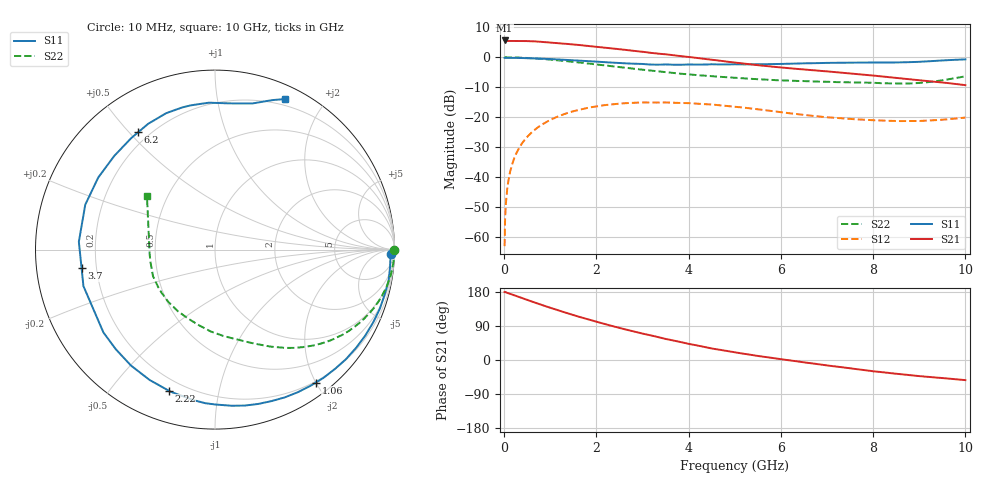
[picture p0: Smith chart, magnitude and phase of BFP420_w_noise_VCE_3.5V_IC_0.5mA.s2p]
! Infineon Technologies  Discrete & RF Semiconductors
! BFP420
! VCE =  3.5 V,  IC =  0.5 mA
! Common Emitter S-Parameters:  Jan 2016
# GHz  S  MA  R  50
!  f  S11  S21  S12  S22
! GHz  MAG  ANG  MAG  ANG  MAG  ANG  MAG  ANG
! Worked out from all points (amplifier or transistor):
!   233 points, 10 MHz to 10 GHz, reference 50 ohm
!   highest |S21| = 5.6 dB at 10 MHz (marker M1)
!   |S21| within 3 dB of that: start of sweep to 2.543 GHz
!   unconditionally stable (mu >= 1): 4.395 GHz to end of sweep
!   at 200 MHz: K = 0.01, MSG = 20.0 dB, |S12| = -34.5 dB
!   at 1.74 GHz: K = 0.27, MSG = 10.5 dB, |S12| = -17.1 dB
!   at 10 GHz: K = 1.58, MAG = 0.9 dB, |S12| = -20.1 dB
!   lowest NFmin = 0.68 dB at 900 MHz
!   S11 on the Smith chart (normalised r, x): 10 MHz: 40, -47; 1.06 GHz: 0.18, -2.00; 2.22 GHz: 0.14, -0.71; 3.7 GHz: 0.14, -0.07; 6.2 GHz: 0.16, +0.53; 10 GHz: 0.13, +1.56
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0.01  0.9793 -1.4  1.913 179.4  0.0007 68.2  0.9991 -0.1
0.015  0.9816 -1.3  1.886 179.5  0.0013 79.7  0.9986 -0.3
0.025  0.9831 -1.4  1.861 179.3  0.0024 84.8  0.9982 -0.6
0.055  0.9788 -2.5  1.873 177.7  0.0052 86.6  0.9986 -1.3
0.125  0.9802 -6.2  1.882 174.8  0.0118 85.8  0.9974 -3.2
0.22  0.9813 -10.8  1.882 170.7  0.0207 83.2  0.9942 -5.7
0.36  0.9758 -17.9  1.879 164.8  0.0339 79.0  0.9864 -9.4
0.54  0.967 -26.8  1.86 156.9  0.0505 73.3  0.9713 -13.9
1.06  0.9296 -52.8  1.756 135.5  0.0946 57.2  0.9067 -26.2
1.4  0.9008 -69.6  1.666 122.3  0.1192 47.0  0.8554 -33.6
1.68  0.8762 -83.1  1.591 112.1  0.1361 38.9  0.8112 -39.0
2.22  0.8269 -108.2  1.44 93.7  0.1603 24.5  0.7283 -48.3
2.82  0.7817 -135.6  1.281 74.9  0.1744 9.3  0.6433 -57.7
3.4  0.7551 -160.3  1.141 58.6  0.1758 -3.5  0.5742 -66.3
3.7  0.7505 -172.0  1.075 50.7  0.1738 -9.2  0.5442 -70.9
4.5  0.7649 160.9  0.914 30.4  0.1629 -23.2  0.4841 -84.3
5.1  0.7626 146.1  0.801 18.3  0.1473 -31.1  0.4504 -94.8
6.2  0.7814 123.3  0.655 -1.1  0.116 -39.0  0.4063 -115.2
6.8  0.7998 113.0  0.599 -10.9  0.1034 -39.2  0.3931 -127.4
8.4  0.818 85.1  0.46 -35.0  0.0867 -31.4  0.3661 -169.0
9.2  0.859 73.0  0.4 -44.5  0.0879 -24.5  0.3853 163.8
10  0.9253 65.0  0.343 -53.1  0.0984 -19.5  0.4811 142.0
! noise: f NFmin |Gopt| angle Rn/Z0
0.9  0.68  0.78  35  0.65
1.8  1.42  0.6  75  0.5
2.4  1.57  0.58  98  0.37
3  2.1  0.58  128  0.24
4  2.49  0.57  177  0.09
